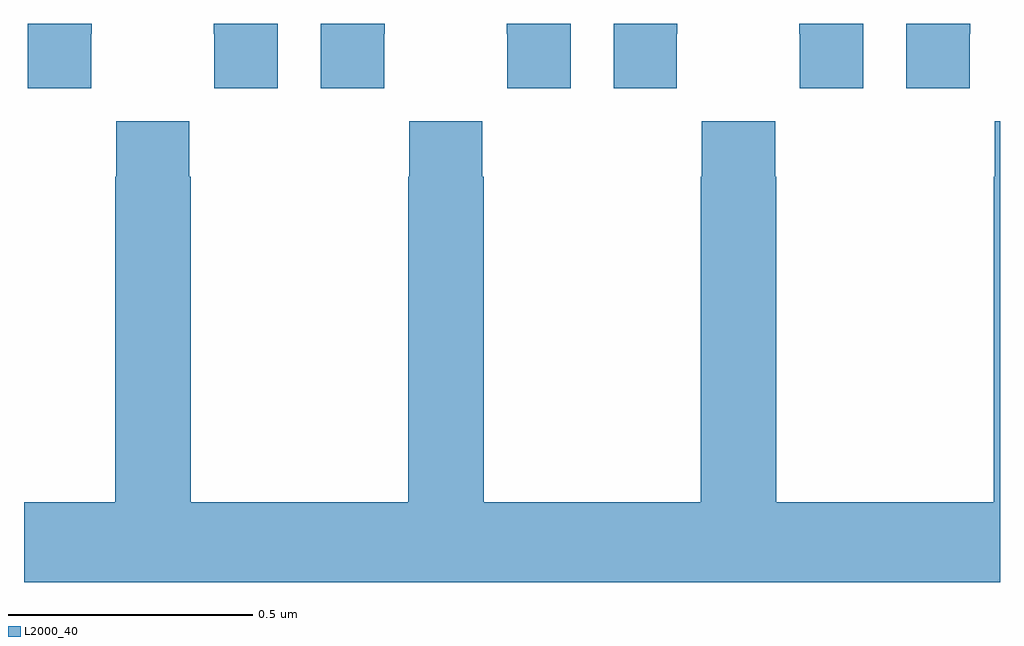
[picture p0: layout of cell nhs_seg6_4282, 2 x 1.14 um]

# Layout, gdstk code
import gdstk
lib = gdstk.Library(unit=1e-6, precision=1e-09)
def P(c, l, *ps):  # polygons
    for p in ps: c.add(gdstk.Polygon(p, *l))
L2000_40 = (2000, 40)

nhs_seg6_4282 = lib.new_cell('nhs_seg6_4282')
P(nhs_seg6_4282, L2000_40, [(168.138,928.48),(168.139,928.48),(168.139,928.5),(168.008,928.5),(168.008,928.368),(168.138,928.368)],
  [(168.52,928.5),(168.389,928.5),(168.389,928.48),(168.39,928.48),(168.39,928.368),(168.52,928.368)],
  [(168.738,928.48),(168.739,928.48),(168.739,928.5),(168.608,928.5),(168.608,928.368),(168.738,928.368)],
  [(169.12,928.5),(168.989,928.5),(168.989,928.48),(168.99,928.48),(168.99,928.368),(169.12,928.368)],
  [(169.338,928.48),(169.339,928.48),(169.339,928.5),(169.208,928.5),(169.208,928.368),(169.338,928.368)],
  [(169.72,928.5),(169.589,928.5),(169.589,928.48),(169.59,928.48),(169.59,928.368),(169.72,928.368)],
  [(169.938,928.48),(169.939,928.48),(169.939,928.5),(169.808,928.5),(169.808,928.368),(169.938,928.368)],
  [(170,928.3),(169.989,928.3),(169.989,928.187),(169.987,928.187),(169.987,927.52),(169.542,927.52),(169.542,928.187),(169.539,928.187),(169.539,928.3),(169.389,928.3),(169.389,928.187),(169.387,928.187),(169.387,927.52),(168.942,927.52),(168.942,928.187),(168.939,928.187),(168.939,928.3),(168.789,928.3),(168.789,928.187),(168.787,928.187),(168.787,927.52),(168.342,927.52),(168.342,928.187),(168.339,928.187),(168.339,928.3),(168.189,928.3),(168.189,928.187),(168.187,928.187),(168.187,927.52),(168,927.52),(168,927.356),(170,927.356)])

lib.write_gds('nhs_seg6_4282.gds')
